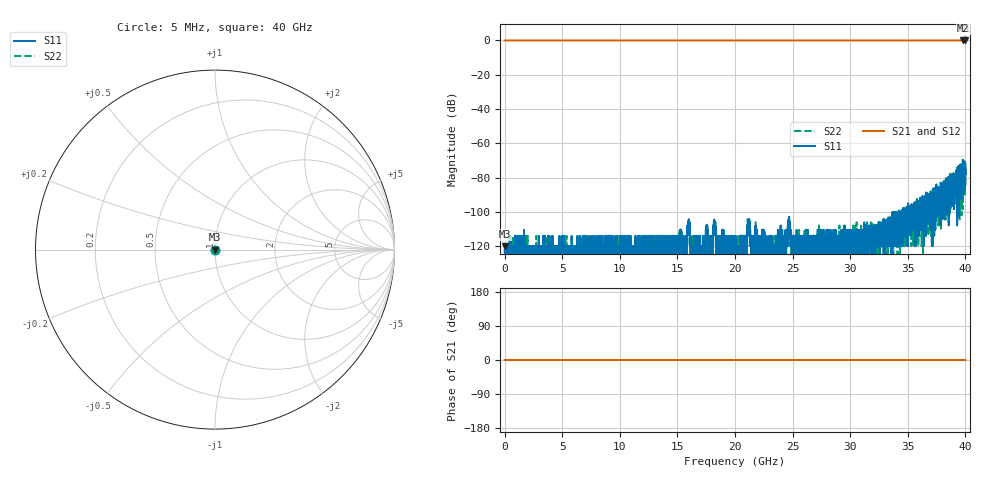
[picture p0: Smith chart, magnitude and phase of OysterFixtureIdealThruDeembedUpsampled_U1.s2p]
# MHz MA S R 50.0
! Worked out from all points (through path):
!   8000 points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, 5 MHz to 40 GHz, reference 50 ohm
!   highest |S21| = 0.00 dB at 39.97 GHz (marker M1); lowest = 0.0 dB at 39.79 GHz (marker M2)
!   lowest |S11| = -120.0 dB at 10 MHz (marker M3), VSWR 1.00, Z = 50 + j4.7e-05 ohm
!   |S11| at or under -10 dB: start of sweep to end of sweep
!   |S22| runs from - to -70.7 dB; largest |S21 - S12| = 0.00045
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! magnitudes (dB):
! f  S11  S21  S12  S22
! 5 MHz  -  0.0  0.0  -
! 10 MHz  -120.0  0.0  0.0  -
! 6.675 GHz  -120.0  0.0  0.0  -
! 13.34 GHz  -  0.0  0.0  -120.0
! 20 GHz  -120.0  0.0  0.0  -
! 26.67 GHz  -  0.0  0.0  -120.0
! 33.34 GHz  -110.5  0.0  0.0  -120.0
! 38.84 GHz  -83.0  0.0  0.0  -88.6
! 39.02 GHz  -82.9  0.0  0.0  -83.3
! 39.17 GHz  -79.5  0.0  0.0  -89.4
! 39.2 GHz  -81.9  0.0  0.0  -77.5
! 39.28 GHz  -84.4  0.0  0.0  -79.3
! 39.41 GHz  -85.2  0.0  0.0  -77.3
! 39.47 GHz  -84.2  0.0  0.0  -79.5
! 39.56 GHz  -75.0  0.0  0.0  -78.7
! 39.58 GHz  -77.7  0.0  0.0  -77.7
! 39.66 GHz  -82.4  0.0  0.0  -101.9
! 39.69 GHz  -78.6  0.0  0.0  -80.3
! 39.79 GHz  -84.6  0.0  0.0  -76.4
! 39.91 GHz  -83.6  0.0  0.0  -77.9
! 39.97 GHz  -74.5  0.0  0.0  -76.5
! 40 GHz  -75.5  0.0  0.0  -85.8
